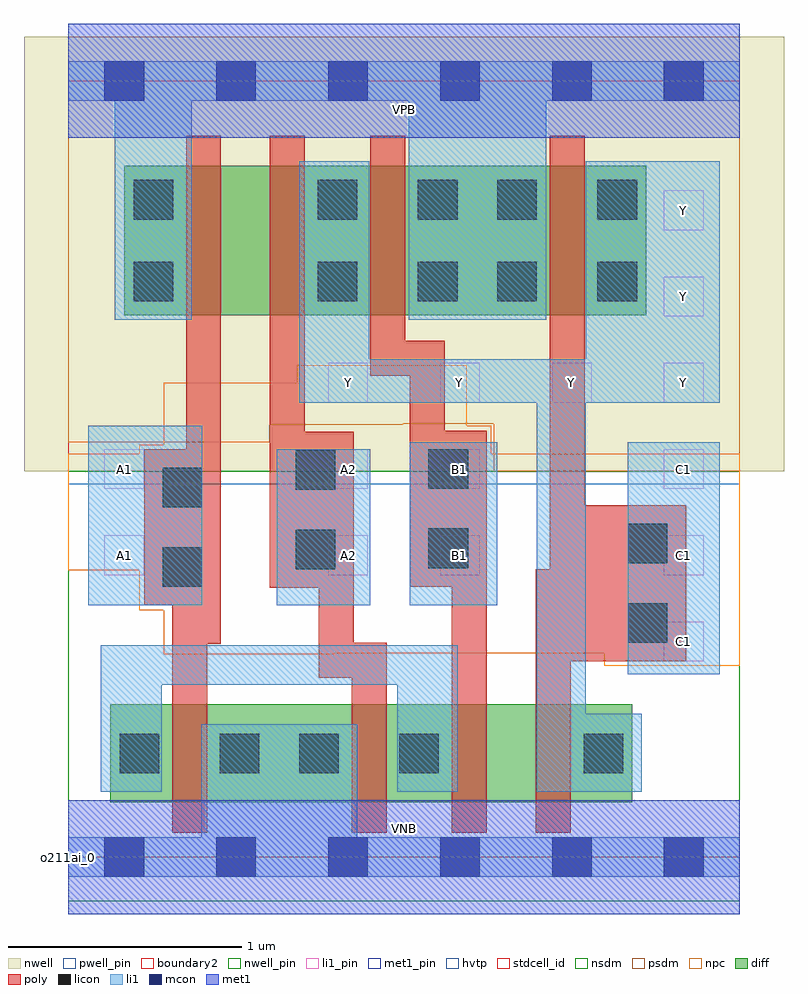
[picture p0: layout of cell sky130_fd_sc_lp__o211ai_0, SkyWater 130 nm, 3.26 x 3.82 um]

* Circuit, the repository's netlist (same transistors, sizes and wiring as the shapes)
* Copyright 2020 The SkyWater PDK Authors
*
* Licensed under the Apache License, Version 2.0 (the "License");
* you may not use this file except in compliance with the License.
* You may obtain a copy of the License at
*
*     https://www.apache.org/licenses/LICENSE-2.0
*
* Unless required by applicable law or agreed to in writing, software
* distributed under the License is distributed on an "AS IS" BASIS,
* WITHOUT WARRANTIES OR CONDITIONS OF ANY KIND, either express or implied.
* See the License for the specific language governing permissions and
* limitations under the License.
*
* SPDX-License-Identifier: Apache-2.0

.SUBCKT sky130_fd_sc_lp__o211ai_0 A1 A2 B1 C1 VGND VNB VPB VPWR Y
*.PININFO A1:I A2:I B1:I C1:I VGND:I VNB:I VPB:I VPWR:I Y:O
MMPA0 VPWR A1 sndA1 VPB sky130_fd_pr__pfet_01v8_hvt m=1 w=0.64U l=0.15U mult=1
+ sa=0.265 sb=0.265 sd=0.28 area=0.063 perim=1.14
MMPA1 sndA1 A2 Y VPB sky130_fd_pr__pfet_01v8_hvt m=1 w=0.64U l=0.15U mult=1 sa=0.265
+ sb=0.265 sd=0.28 area=0.063 perim=1.14
MMPB0 VPWR B1 Y VPB sky130_fd_pr__pfet_01v8_hvt m=1 w=0.64U l=0.15U mult=1 sa=0.265
+ sb=0.265 sd=0.28 area=0.063 perim=1.14
MMPC0 VPWR C1 Y VPB sky130_fd_pr__pfet_01v8_hvt m=1 w=0.64U l=0.15U mult=1 sa=0.265
+ sb=0.265 sd=0.28 area=0.063 perim=1.14
MMNA0 pndA A1 VGND VNB sky130_fd_pr__nfet_01v8 m=1 w=0.42U l=0.15U mult=1 sa=0.265
+ sb=0.265 sd=0.28 area=0.063 perim=1.14
MMNA1 pndA A2 VGND VNB sky130_fd_pr__nfet_01v8 m=1 w=0.42U l=0.15U mult=1 sa=0.265
+ sb=0.265 sd=0.28 area=0.063 perim=1.14
MMNB0 pndB B1 pndA VNB sky130_fd_pr__nfet_01v8 m=1 w=0.42U l=0.15U mult=1 sa=0.265
+ sb=0.265 sd=0.28 area=0.063 perim=1.14
MMNC0 Y C1 pndB VNB sky130_fd_pr__nfet_01v8 m=1 w=0.42U l=0.15U mult=1 sa=0.265
+ sb=0.265 sd=0.28 area=0.063 perim=1.14
.ENDS sky130_fd_sc_lp__o211ai_0

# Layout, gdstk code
import gdstk
lib = gdstk.Library(unit=1e-6, precision=1e-09)
def R(c, l, rs):  # rectangles x0, y0, x1, y1
    for r in rs: c.add(gdstk.rectangle(r[:2], r[2:], *l))
def A(c, l, x, y, w, h, nx, ny, dx, dy):  # array of equal rectangles
    R(c, l, [(x+i*dx, y+j*dy, x+i*dx+w, y+j*dy+h) for i in range(nx) for j in range(ny)])
def P(c, l, *ps):  # polygons
    for p in ps: c.add(gdstk.Polygon(p, *l))
nwell_pin = (64, 16)
nwell = (64, 20)
diff = (65, 20)
poly = (66, 20)
licon = (66, 44)
li1_pin = (67, 16)
li1 = (67, 20)
mcon = (67, 44)
met1_pin = (68, 16)
met1 = (68, 20)
hvtp = (78, 44)
stdcell_id = (81, 4)
nsdm = (93, 44)
psdm = (94, 20)
npc = (95, 20)
pwell_pin = (122, 16)
boundary2 = (236, 0)

sky130_fd_sc_lp__o211ai_ = lib.new_cell('sky130_fd_sc_lp__o211ai_0')
R(sky130_fd_sc_lp__o211ai_, nwell_pin, [(0,3.085,2.88,3.33)])
R(sky130_fd_sc_lp__o211ai_, nwell, [(-0.19,1.655,3.07,3.52)])
R(sky130_fd_sc_lp__o211ai_, diff, [(0.18,0.235,2.42,0.655), (0.24,2.325,2.48,2.965)])
P(sky130_fd_sc_lp__o211ai_, poly, [(0.655,3.095),(0.505,3.095),(0.505,1.75),(0.325,1.75),(0.325,1.08),(0.445,1.08),(0.445,0.105),(0.595,0.105),(0.595,0.915),(0.655,0.915)],
  [(1.795,1.83),(1.615,1.83),(1.615,2.215),(1.445,2.215),(1.445,3.095),(1.295,3.095),(1.295,2.065),(1.465,2.065),(1.465,1.16),(1.645,1.16),(1.645,0.105),(1.795,0.105)],
  [(2.65,1.51),(2.215,1.51),(2.215,3.095),(2.065,3.095),(2.065,1.235),(2.005,1.235),(2.005,0.105),(2.155,0.105),(2.155,0.84),(2.65,0.84)],
  [(1.365,0.92),(1.225,0.92),(1.225,1.825),(1.015,1.825),(1.015,3.095),(0.865,3.095),(0.865,1.155),(1.075,1.155),(1.075,0.77),(1.215,0.77),(1.215,0.105),(1.365,0.105)])
R(sky130_fd_sc_lp__o211ai_, licon, [(0.22,0.36,0.39,0.53), (0.65,0.36,0.82,0.53), (0.99,0.36,1.16,0.53), (1.42,0.36,1.59,0.53), (2.21,0.36,2.38,0.53), (2.4,0.92,2.57,1.09), (0.405,1.16,0.575,1.33), (0.975,1.235,1.145,1.405), (1.545,1.24,1.715,1.41), (2.4,1.26,2.57,1.43), (0.405,1.5,0.575,1.67), (0.975,1.575,1.145,1.745), (1.545,1.58,1.715,1.75), (0.28,2.385,0.45,2.555), (1.07,2.385,1.24,2.555), (1.5,2.385,1.67,2.555), (1.84,2.385,2.01,2.555), (2.27,2.385,2.44,2.555), (0.28,2.735,0.45,2.905), (1.07,2.735,1.24,2.905), (1.5,2.735,1.67,2.905), (1.84,2.735,2.01,2.905), (2.27,2.735,2.44,2.905)])
A(sky130_fd_sc_lp__o211ai_, li1_pin, 2.555, 0.84, 0.17, 0.17, 1, 3, 0, 0.37)
A(sky130_fd_sc_lp__o211ai_, li1_pin, 1.115, 1.95, 0.17, 0.17, 4, 1, 0.48, 0)
R(sky130_fd_sc_lp__o211ai_, li1_pin, [(0.155,1.21,0.325,1.38), (1.115,1.21,1.285,1.38), (1.595,1.21,1.765,1.38), (0.155,1.58,0.325,1.75), (1.115,1.58,1.285,1.75), (1.595,1.58,1.765,1.75), (2.555,2.32,2.725,2.49), (2.555,2.69,2.725,2.86)])
R(sky130_fd_sc_lp__o211ai_, li1, [(2.4,0.785,2.795,1.78), (0.085,1.08,0.575,1.85), (0.895,1.08,1.295,1.75), (1.465,1.08,1.84,1.78)])
P(sky130_fd_sc_lp__o211ai_, li1, [(2.88,0.085),(1.24,0.085),(1.24,0.57),(0.57,0.57),(0.57,0.085),(0,0.085),(0,-0.085),(2.88,-0.085)],
  [(2.88,3.415),(0,3.415),(0,3.245),(0.2,3.245),(0.2,2.305),(0.53,2.305),(0.53,3.245),(1.46,3.245),(1.46,2.305),(2.05,2.305),(2.05,3.245),(2.88,3.245)],
  [(2.795,2.985),(2.22,2.985),(2.22,2.135),(1.29,2.135),(1.29,2.985),(0.99,2.985),(0.99,1.95),(2.01,1.95),(2.01,0.28),(2.46,0.28),(2.46,0.615),(2.22,0.615),(2.22,1.95),(2.795,1.95)],
  [(1.67,0.91),(0.14,0.91),(0.14,0.28),(0.4,0.28),(0.4,0.74),(1.41,0.74),(1.41,0.28),(1.67,0.28)])
A(sky130_fd_sc_lp__o211ai_, mcon, 0.155, -0.085, 0.17, 0.17, 6, 2, 0.48, 3.33)
R(sky130_fd_sc_lp__o211ai_, met1_pin, [(0,0,2.88,0.245), (0,3.085,2.88,3.33)])
R(sky130_fd_sc_lp__o211ai_, met1, [(0,-0.245,2.88,0.245), (0,3.085,2.88,3.575)])
R(sky130_fd_sc_lp__o211ai_, hvtp, [(0,1.6,2.88,3.33)])
R(sky130_fd_sc_lp__o211ai_, stdcell_id, [(0,0,2.88,3.33)])
R(sky130_fd_sc_lp__o211ai_, nsdm, [(0,-0.19,2.88,1.655)])
P(sky130_fd_sc_lp__o211ai_, psdm, [(2.88,3.52),(0,3.52),(0,1.78),(0.865,1.78),(0.865,1.855),(1.435,1.855),(1.435,1.86),(1.825,1.86),(1.825,1.655),(2.88,1.655)])
P(sky130_fd_sc_lp__o211ai_, npc, [(2.88,1.73),(1.815,1.73),(1.815,1.85),(1.71,1.85),(1.71,2.11),(0.98,2.11),(0.98,2.035),(0.41,2.035),(0.41,1.77),(0.305,1.77),(0.305,1.73),(0,1.73),(0,1.23),(0.305,1.23),(0.305,1.06),(0.41,1.06),(0.41,0.87),(1.14,0.87),(1.14,0.875),(2.3,0.875),(2.3,0.82),(2.88,0.82)])
R(sky130_fd_sc_lp__o211ai_, pwell_pin, [(0,0,2.88,0.245)])
R(sky130_fd_sc_lp__o211ai_, boundary2, [(0,0,2.88,3.33)])
sky130_fd_sc_lp__o211ai_.add(gdstk.Label('VNB', (1.44,0.123), layer=64, texttype=59))
sky130_fd_sc_lp__o211ai_.add(gdstk.Label('VPB', (1.44,3.208), layer=64, texttype=5))
sky130_fd_sc_lp__o211ai_.add(gdstk.Label('o211ai_0', (0,0), layer=83, texttype=44))
sky130_fd_sc_lp__o211ai_.add(gdstk.Label('VPWR', (1.44,3.208), layer=68, texttype=5))
sky130_fd_sc_lp__o211ai_.add(gdstk.Label('VGND', (1.44,0.123), layer=68, texttype=5))
sky130_fd_sc_lp__o211ai_.add(gdstk.Label('A1', (0.24,1.295), layer=67, texttype=5))
sky130_fd_sc_lp__o211ai_.add(gdstk.Label('A1', (0.24,1.665), layer=67, texttype=5))
sky130_fd_sc_lp__o211ai_.add(gdstk.Label('A2', (1.2,1.295), layer=67, texttype=5))
sky130_fd_sc_lp__o211ai_.add(gdstk.Label('A2', (1.2,1.665), layer=67, texttype=5))
sky130_fd_sc_lp__o211ai_.add(gdstk.Label('B1', (1.68,1.295), layer=67, texttype=5))
sky130_fd_sc_lp__o211ai_.add(gdstk.Label('B1', (1.68,1.665), layer=67, texttype=5))
sky130_fd_sc_lp__o211ai_.add(gdstk.Label('C1', (2.64,0.925), layer=67, texttype=5))
sky130_fd_sc_lp__o211ai_.add(gdstk.Label('C1', (2.64,1.295), layer=67, texttype=5))
sky130_fd_sc_lp__o211ai_.add(gdstk.Label('C1', (2.64,1.665), layer=67, texttype=5))
sky130_fd_sc_lp__o211ai_.add(gdstk.Label('Y', (1.2,2.035), layer=67, texttype=5))
sky130_fd_sc_lp__o211ai_.add(gdstk.Label('Y', (1.68,2.035), layer=67, texttype=5))
sky130_fd_sc_lp__o211ai_.add(gdstk.Label('Y', (2.16,2.035), layer=67, texttype=5))
sky130_fd_sc_lp__o211ai_.add(gdstk.Label('Y', (2.64,2.035), layer=67, texttype=5))
sky130_fd_sc_lp__o211ai_.add(gdstk.Label('Y', (2.64,2.775), layer=67, texttype=5))
sky130_fd_sc_lp__o211ai_.add(gdstk.Label('Y', (2.64,2.405), layer=67, texttype=5))

lib.write_gds('sky130_fd_sc_lp__o211ai_0.gds')
